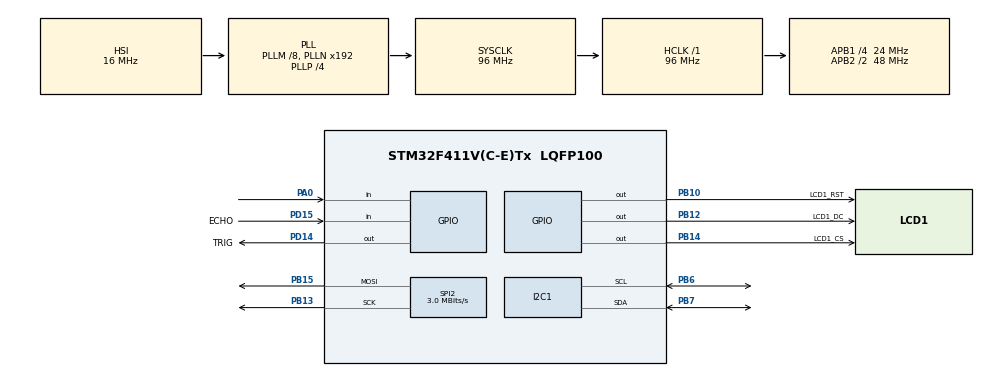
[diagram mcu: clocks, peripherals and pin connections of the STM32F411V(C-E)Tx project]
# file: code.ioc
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Mcu.Family=STM32F4
Mcu.Name=STM32F411V(C-E)Tx
Mcu.Package=LQFP100
NVIC.I2C1_ER_IRQn=true\:0\:0\:false\:false\:true\:true
NVIC.I2C1_EV_IRQn=true\:0\:0\:false\:false\:true\:true
NVIC.PriorityGroup=NVIC_PRIORITYGROUP_0
PA0-WKUP.Signal=GPIO_Input
PB10.GPIO_Label=LCD1_RST
PB10.Signal=GPIO_Output
PB12.GPIO_Label=LCD1_DC
PB12.Signal=GPIO_Output
PB13.Mode=TX_Only_Simplex_Unidirect_Master
PB13.Signal=SPI2_SCK
PB14.GPIO_Label=LCD1_CS
PB14.Signal=GPIO_Output
PB15.Mode=TX_Only_Simplex_Unidirect_Master
PB15.Signal=SPI2_MOSI
PB6.Mode=I2C
PB6.Signal=I2C1_SCL
PB7.Mode=I2C
PB7.Signal=I2C1_SDA
PD14.GPIO_Label=TRIG
PD14.Signal=GPIO_Output
PD15.GPIO_Label=ECHO
PD15.Signal=GPIO_Input
PH0\ -\ OSC_IN.Mode=HSE-External-Oscillator
PH0\ -\ OSC_IN.Signal=RCC_OSC_IN
PH1\ -\ OSC_OUT.Mode=HSE-External-Oscillator
PH1\ -\ OSC_OUT.Signal=RCC_OSC_OUT
ProjectManager.HeapSize=0x200
ProjectManager.StackSize=0x400
ProjectManager.TargetToolchain=SW4STM32
RCC.48MHZClocksFreq_Value=48000000
RCC.AHBFreq_Value=96000000
RCC.APB1CLKDivider=RCC_HCLK_DIV4
RCC.APB1Freq_Value=24000000
RCC.APB1TimFreq_Value=48000000
RCC.APB2CLKDivider=RCC_HCLK_DIV2
RCC.APB2Freq_Value=48000000
RCC.APB2TimFreq_Value=96000000
RCC.CortexFreq_Value=96000000
RCC.HCLKFreq_Value=96000000
RCC.HSE_VALUE=8000000
RCC.HSI_VALUE=16000000
RCC.LSE_VALUE=32768
RCC.PLLI2SM=5
RCC.PLLI2SN=200
RCC.PLLM=8
RCC.PLLP=RCC_PLLP_DIV4
RCC.PLLQ=8
RCC.SYSCLKFreq_VALUE=96000000
RCC.SYSCLKSource=RCC_SYSCLKSOURCE_PLLCLK
RCC.VCOOutputFreq_Value=384000000
SPI2.BaudRatePrescaler=SPI_BAUDRATEPRESCALER_8
SPI2.CalculateBaudRate=3.0 MBits/s
SPI2.Direction=SPI_DIRECTION_2LINES
SPI2.Mode=SPI_MODE_MASTER
SPI2.VirtualType=VM_MASTER
TIM10.Period=10000
TIM10.Prescaler=63
VP_TIM10_VS_ClockSourceINT.Mode=Enable_Timer
board=32F411EDISCOVERY

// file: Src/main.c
/**
  ******************************************************************************
  * @file           : main.c
  * @brief          : Main program body
  ******************************************************************************
  ** This notice applies to any and all portions of this file
  * that are not between comment pairs USER CODE BEGIN and
  * USER CODE END. Other portions of this file, whether
  * inserted by the user or by software development tools
  * are owned by their respective copyright owners.
  *
  * COPYRIGHT(c) 2018 STMicroelectronics
  *
  * Redistribution and use in source and binary forms, with or without modification,
  * are permitted provided that the following conditions are met:
  *   1. Redistributions of source code must retain the above copyright notice,
  *      this list of conditions and the following disclaimer.
  *   2. Redistributions in binary form must reproduce the above copyright notice,
  *      this list of conditions and the following disclaimer in the documentation
  *      and/or other materials provided with the distribution.
  *   3. Neither the name of STMicroelectronics nor the names of its contributors
  *      may be used to endorse or promote products derived from this software
  *      without specific prior written permission.
  *
  * THIS SOFTWARE IS PROVIDED BY THE COPYRIGHT HOLDERS AND CONTRIBUTORS "AS IS"
  * AND ANY EXPRESS OR IMPLIED WARRANTIES, INCLUDING, BUT NOT LIMITED TO, THE
  * IMPLIED WARRANTIES OF MERCHANTABILITY AND FITNESS FOR A PARTICULAR PURPOSE ARE
  * DISCLAIMED. IN NO EVENT SHALL THE COPYRIGHT HOLDER OR CONTRIBUTORS BE LIABLE
  * FOR ANY DIRECT, INDIRECT, INCIDENTAL, SPECIAL, EXEMPLARY, OR CONSEQUENTIAL
  * DAMAGES (INCLUDING, BUT NOT LIMITED TO, PROCUREMENT OF SUBSTITUTE GOODS OR
  * SERVICES; LOSS OF USE, DATA, OR PROFITS; OR BUSINESS INTERRUPTION) HOWEVER
  * CAUSED AND ON ANY THEORY OF LIABILITY, WHETHER IN CONTRACT, STRICT LIABILITY,
  * OR TORT (INCLUDING NEGLIGENCE OR OTHERWISE) ARISING IN ANY WAY OUT OF THE USE
  * OF THIS SOFTWARE, EVEN IF ADVISED OF THE POSSIBILITY OF SUCH DAMAGE.
  *
  ******************************************************************************
  */
#include "main.h"
#include "stm32f4xx_hal.h"
#include "i2c.h"
#include "spi.h"
#include "tim.h"
#include "gpio.h"
#include "lcd5110.h"

#define LOOP_FREQ (SystemCoreClock/4000000)
#define USE_TIM10_TIMING 1

void SystemClock_Config(void);

/* USER CODE BEGIN PFP */

volatile uint32_t tim10_overflows = 0;

void HAL_TIM_PeriodElapsedCallback(TIM_HandleTypeDef *htim)
{
  if( htim->Instance == TIM10 )
  {
   ++tim10_overflows;
  }
}

inline void TIM10_reinit()
{
 HAL_TIM_Base_Stop(&htim10);
 __HAL_TIM_SET_PRESCALER( &htim10, (SystemCoreClock/1000000) );
 __HAL_TIM_SET_COUNTER( &htim10, 0 );
 tim10_overflows = 0;
 HAL_TIM_Base_Start_IT(&htim10);
}

inline uint32_t get_tim10_us()
{
 __HAL_TIM_DISABLE_IT(&htim10, TIM_IT_UPDATE); //! Дуже важливо!
 //__disable_irq();
 uint32_t res = tim10_overflows * 10000 + __HAL_TIM_GET_COUNTER(&htim10);
 //__enable_irq();
 __HAL_TIM_ENABLE_IT(&htim10, TIM_IT_UPDATE);
 return res;
}

inline void udelay_TIM10(uint32_t useconds) {
 uint32_t before = get_tim10_us();
 while( get_tim10_us() < before+useconds){}
}

void init_timing()
{
#ifdef  USE_HAL_DELAY_AND_ASM
 return;
#elif defined USE_DWT_TIMING
 DWT_Init();
#elif defined USE_TIM10_TIMING
 TIM10_reinit();
#else
#error "Unknown timing method."
#endif
}

inline uint32_t get_us()
{
#ifdef  USE_HAL_DELAY_AND_ASM
 return 1000*HAL_GetTick();// ДУже грубо, а що зробиш?
#elif defined USE_DWT_TIMING
 return get_DWT_us();
#elif defined USE_TIM10_TIMING
 return get_tim10_us();
#else
#error "Unknown timing method."
#endif
}

inline void udelay(uint32_t useconds)
{
#ifdef  USE_HAL_DELAY_AND_ASM
 udelay_asm(useconds);
#elif defined USE_DWT_TIMING
 udelay_DWT(useconds);
#elif defined USE_TIM10_TIMING
 udelay_TIM10(useconds);
#else
#error "Unknown timing method."
#endif
}

/* USER CODE END PFP */

/* USER CODE BEGIN 0 */
LCD5110_display lcd1;

/* USER CODE END 0 */

int main(void)
{
  /* USER CODE BEGIN 1 */
		inline void udelay_asm (uint32_t useconds) {
		 useconds *= LOOP_FREQ;

		    asm volatile("   mov r0, %[useconds]    \n\t"
		                 "1: subs r0, #1            \n\t"
		                 "   bhi 1b                 \n\t"
		                 :
		                 : [useconds] "r" (useconds)
		                 : "r0");
		}
  /* USER CODE END 1 */

  /* MCU Configuration----------------------------------------------------------*/

  /* Reset of all peripherals, Initializes the Flash interface and the Systick. */
  HAL_Init();

  /* Configure the system clock */
  SystemClock_Config();

  /* Initialize all configured peripherals */
  MX_GPIO_Init();
  MX_I2C1_Init();
  MX_SPI2_Init();
  MX_TIM10_Init();
  /* USER CODE BEGIN 2 */
  init_timing();
    lcd1.hw_conf.spi_handle = &hspi2;
  	lcd1.hw_conf.spi_cs_pin =  LCD1_CS_Pin;
  	lcd1.hw_conf.spi_cs_port = LCD1_CS_GPIO_Port;
  	lcd1.hw_conf.rst_pin =  LCD1_RST_Pin;
  	lcd1.hw_conf.rst_port = LCD1_RST_GPIO_Port;
  	lcd1.hw_conf.dc_pin =  LCD1_DC_Pin;
  	lcd1.hw_conf.dc_port = LCD1_DC_GPIO_Port;
  	lcd1.def_scr = lcd5110_def_scr;
  	LCD5110_init(&lcd1.hw_conf, LCD5110_NORMAL_MODE, 0x40, 2, 3);

      LCD5110_print("HEVALO DCP!\n", BLACK, &lcd1);

  /* USER CODE END 2 */

  /* Infinite loop */
  /* USER CODE BEGIN WHILE */
      HAL_GPIO_WritePin(TRIG_GPIO_Port, TRIG_Pin, GPIO_PIN_RESET);
  while (1)
  {
	  	  LCD5110_clear_scr(&lcd1);
	  	  LCD5110_set_cursor(0, 0, &lcd1);
	  	  //int e_state = HAL_GPIO_ReadPin(ECHO_GPIO_Port, ECHO_Pin); // Could be 1 here!
	  	     int t_state = HAL_GPIO_ReadPin(TRIG_GPIO_Port, TRIG_Pin);
	  	     while(  t_state == GPIO_PIN_SET )
	  	     {
	  	    	LCD5110_clear_scr(&lcd1);
			  LCD5110_set_cursor(0, 0, &lcd1);
	  	    	 LCD5110_print("Wrong state before triggering, Trig is high\n", BLACK, &lcd1);
	  	      HAL_Delay(300);
	  	     }
	  	     HAL_GPIO_WritePin(TRIG_GPIO_Port, TRIG_Pin, GPIO_PIN_SET);
	  	     if ( HAL_GPIO_ReadPin(TRIG_GPIO_Port, TRIG_Pin) != GPIO_PIN_SET )
	  	     {
	  	    	LCD5110_clear_scr(&lcd1);
			  LCD5110_set_cursor(0, 0, &lcd1);
				 LCD5110_print("Line Trig do not went high while triggering.\n", BLACK, &lcd1);
	  	      HAL_GPIO_WritePin(TRIG_GPIO_Port, TRIG_Pin, GPIO_PIN_RESET);
	  	      HAL_Delay(300);
	  	      continue;
	  	     }
	  	     udelay(16);
	  	     HAL_GPIO_WritePin(TRIG_GPIO_Port, TRIG_Pin, GPIO_PIN_RESET);
	  	     if ( HAL_GPIO_ReadPin(TRIG_GPIO_Port, TRIG_Pin) != GPIO_PIN_RESET )
	  	     {
	  	    	LCD5110_clear_scr(&lcd1);
				  LCD5110_set_cursor(0, 0, &lcd1);
				 LCD5110_print("Line Trig do not went low after triggering.\n", BLACK, &lcd1);
	  	      HAL_GPIO_WritePin(TRIG_GPIO_Port, TRIG_Pin, GPIO_PIN_RESET);
	  	      HAL_Delay(300);
	  	      continue;
	  	     }
	  	     if ( HAL_GPIO_ReadPin(ECHO_GPIO_Port, ECHO_Pin) == GPIO_PIN_SET )
	  	     {
	  	    	LCD5110_clear_scr(&lcd1);
				  LCD5110_set_cursor(0, 0, &lcd1);
				 LCD5110_print("Line ECHO is high too early.\n", BLACK, &lcd1);
	  	      HAL_Delay(300);
	  	      continue;
	  	     }

	  	     uint32_t watchdog_begin = get_us();
	  	     int didnt_had_1_at_echo = 0;
	  	     while(HAL_GPIO_ReadPin(ECHO_GPIO_Port, ECHO_Pin) == GPIO_PIN_RESET )
	  	     {
	  	      if( get_us() - watchdog_begin > 500000 )
	  	      {
	  	       didnt_had_1_at_echo = 1;
	  	       break;
	  	      }
	  	     }
	  	     if(didnt_had_1_at_echo)
	  	     {
				  LCD5110_clear_scr(&lcd1);
				  LCD5110_set_cursor(0, 0, &lcd1);
				  LCD5110_print("Line ECHO didn't go high for a long time.\n", BLACK, &lcd1);
				  HAL_Delay(300);
				  continue;
	  	     }

	  	     uint32_t before = get_us();
	  	     int didnt_had_0_at_echo = 0;
	  	     while(HAL_GPIO_ReadPin(ECHO_GPIO_Port, ECHO_Pin) == GPIO_PIN_SET )
	  	     {
	  	      if( get_us() - watchdog_begin > 500000 )
	  	      {
	  	    	  didnt_had_0_at_echo = 1;
	  	    	  break;
	  	      }
	  	     }
	  	     if(didnt_had_0_at_echo)
	  	     {
				  LCD5110_clear_scr(&lcd1);
				  LCD5110_set_cursor(0, 0, &lcd1);
				  LCD5110_print("Line ECHO didn't go low after echoing pulse stared for a long time.\n", BLACK, &lcd1);
				  HAL_Delay(300);
				  continue;
	  	     }

	  	     uint32_t pulse_time = get_us()-before;
	  	     uint32_t distance = pulse_time/58;
	  	     //! Увага, не забудьте додати:
	  	     // monitor arm semihosting enable
	  	     // До  Debug Configurations -> Startup Tab:
	  	     LCD5110_clear_scr(&lcd1);
	  	     LCD5110_set_cursor(0, 0, &lcd1);
	  	     LCD5110_printf(&lcd1, BLACK, "Time: %lu ms, distance: %lu cm\n", pulse_time, pulse_time*340/20);
	  	     HAL_Delay(500);

	  	     if( distance > 500 )
	  	     {
	  	    	LCD5110_clear_scr(&lcd1);
	  	    	LCD5110_set_cursor(0, 0, &lcd1);
	  	    	LCD5110_print("Too far -- possibly no echo at all.", BLACK, &lcd1);
	  	     }

//
//	HAL_GPIO_WritePin(TRIG_GPIO_Port, TRIG_Pin, GPIO_PIN_SET);
//	HAL_Delay(50);
//	HAL_GPIO_WritePin(TRIG_GPIO_Port, TRIG_Pin, GPIO_PIN_RESET);
//
//	while(HAL_GPIO_ReadPin(ECHO_GPIO_Port, ECHO_Pin) == GPIO_PIN_RESET );
//	   {}
//
//	uint32_t before = HAL_GetTick();
//	while(HAL_GPIO_ReadPin(ECHO_GPIO_Port, ECHO_Pin) == GPIO_PIN_SET );
//	{}
//	uint32_t pulse_time = HAL_GetTick()-before;
//	LCD5110_clear_scr(&lcd1);
//	LCD5110_set_cursor(0, 0, &lcd1);
//	LCD5110_printf(&lcd1, BLACK, "Time: %lu ms, distance: %lu cm\n", pulse_time, pulse_time*340/20);
  /* USER CODE END WHILE */

  }

}

void SystemClock_Config(void)
{

  RCC_OscInitTypeDef RCC_OscInitStruct;
  RCC_ClkInitTypeDef RCC_ClkInitStruct;

    /**Configure the main internal regulator output voltage
    */
  __HAL_RCC_PWR_CLK_ENABLE();

  __HAL_PWR_VOLTAGESCALING_CONFIG(PWR_REGULATOR_VOLTAGE_SCALE1);

    /**Initializes the CPU, AHB and APB busses clocks
    */
  RCC_OscInitStruct.OscillatorType = RCC_OSCILLATORTYPE_HSI;
  RCC_OscInitStruct.HSIState = RCC_HSI_ON;
  RCC_OscInitStruct.HSICalibrationValue = 16;
  RCC_OscInitStruct.PLL.PLLState = RCC_PLL_ON;
  RCC_OscInitStruct.PLL.PLLSource = RCC_PLLSOURCE_HSI;
  RCC_OscInitStruct.PLL.PLLM = 8;
  RCC_OscInitStruct.PLL.PLLN = 192;
  RCC_OscInitStruct.PLL.PLLP = RCC_PLLP_DIV4;
  RCC_OscInitStruct.PLL.PLLQ = 8;
  if (HAL_RCC_OscConfig(&RCC_OscInitStruct) != HAL_OK)
  {
    _Error_Handler(__FILE__, __LINE__);
  }

    /**Initializes the CPU, AHB and APB busses clocks
    */
  RCC_ClkInitStruct.ClockType = RCC_CLOCKTYPE_HCLK|RCC_CLOCKTYPE_SYSCLK
                              |RCC_CLOCKTYPE_PCLK1|RCC_CLOCKTYPE_PCLK2;
  RCC_ClkInitStruct.SYSCLKSource = RCC_SYSCLKSOURCE_PLLCLK;
  RCC_ClkInitStruct.AHBCLKDivider = RCC_SYSCLK_DIV1;
  RCC_ClkInitStruct.APB1CLKDivider = RCC_HCLK_DIV4;
  RCC_ClkInitStruct.APB2CLKDivider = RCC_HCLK_DIV2;

  if (HAL_RCC_ClockConfig(&RCC_ClkInitStruct, FLASH_LATENCY_3) != HAL_OK)
  {
    _Error_Handler(__FILE__, __LINE__);
  }

    /**Configure the Systick interrupt time
    */
  HAL_SYSTICK_Config(HAL_RCC_GetHCLKFreq()/1000);

    /**Configure the Systick
    */
  HAL_SYSTICK_CLKSourceConfig(SYSTICK_CLKSOURCE_HCLK);

  /* SysTick_IRQn interrupt configuration */
  HAL_NVIC_SetPriority(SysTick_IRQn, 0, 0);
}

void _Error_Handler(char *file, int line)
{
}

/************************ (C) COPYRIGHT STMicroelectronics *****END OF FILE****/
